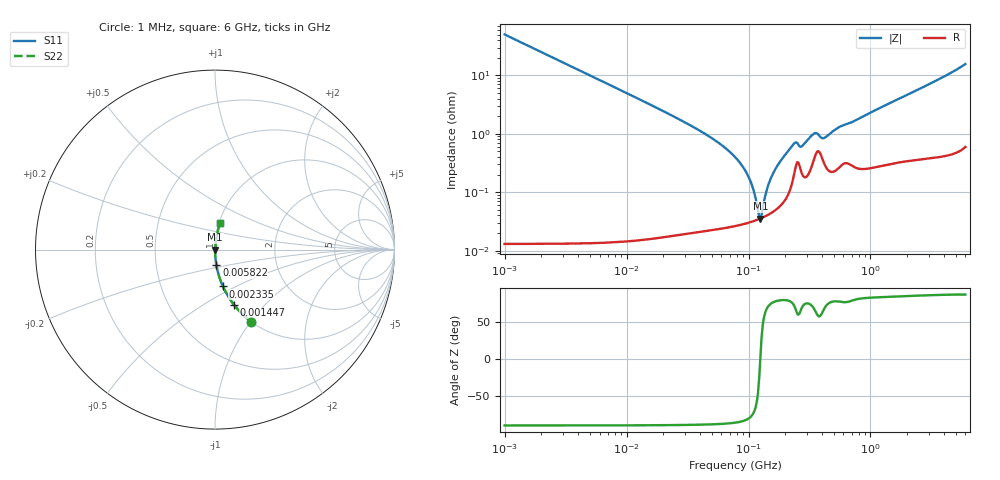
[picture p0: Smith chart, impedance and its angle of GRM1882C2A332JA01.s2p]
!Murata Part Number: GRM1882C2A332JA01
!These Parameters are Measured in Series Mode Connection
!Data Generated on Mar 30, 2021
!  o--ll--o
!Port1  Port2
!  o------o
!Operation Temp=25[degC], DC Bias Voltage=0[V]
!Freq. Start=1000[kHz] Stop=6[GHz] 401[Steps]
# Hz S RI R 50
!Freq.(Hz) S11(Real) S11(Imag) S21(Real) S21(Imag) S12(Real) S12(Imag) S22(Real) S22(Imag)
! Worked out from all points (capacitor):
!   401 points, 1 MHz to 6 GHz, reference 50 ohm
!   read as one part in series: C = 3.17 nF near 1.044 MHz
!   lowest |Z| = 35.4 mohm at 125 MHz (marker M1)
!   series resonance near 124.8 MHz, so ESL is about 510 pH
!   S11 on the Smith chart (normalised r, x): 1 MHz: 1.00, -1.00; 1.447 MHz: 1.00, -0.69; 2.335 MHz: 1.00, -0.43; 5.822 MHz: 1.00, -0.17; 6 GHz: 1.01, +0.31
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1000000  0.201 -0.4007  0.799 0.4007  0.799 0.4007  0.201 -0.4007
1447343  0.1073 -0.3093  0.8927 0.3093  0.8927 0.3093  0.1073 -0.3093
2335446  0.0442 -0.2052  0.9558 0.2052  0.9558 0.2052  0.0442 -0.2052
4293785  0.0136 -0.1151  0.9864 0.1151  0.9864 0.1151  0.0136 -0.1151
5822046  0.00746 -0.0853  0.9925 0.0853  0.9925 0.0853  0.00746 -0.0853
1.843659e7  0.000871 -0.0266  0.9991 0.0266  0.9991 0.0266  0.000871 -0.0266
4.697123e7  0.000303 -0.00915  0.9997 0.00915  0.9997 0.00915  0.000303 -0.00915
7.745967e7  0.000278 -0.00399  0.9997 0.00399  0.9997 0.00399  0.000278 -0.00399
1.005588e8  0.000304 -0.00177  0.9997 0.00177  0.9997 0.00177  0.000304 -0.00177
1.096987e8  0.00032 -0.00105  0.9997 0.00105  0.9997 0.00105  0.00032 -0.00105
1.196694e8  0.000341 -0.000343  0.9997 0.000343  0.9997 0.000343  0.000341 -0.000343
1.249896e8  0.000354 1.31e-05  0.9996 -1.31e-05  0.9996 -1.31e-05  0.000354 1.31e-05
1.305463e8  0.000368 0.000371  0.9996 -0.000371  0.9996 -0.000371  0.000368 0.000371
1.487431e8  0.000425 0.00147  0.9996 -0.00147  0.9996 -0.00147  0.000425 0.00147
1.770109e8  0.000559 0.00304  0.9994 -0.00304  0.9994 -0.00304  0.000559 0.00304
2.348496e8  0.00192 0.00642  0.9981 -0.00642  0.9981 -0.00642  0.00192 0.00642
2.734687e8  0.00213 0.00571  0.9979 -0.00571  0.9979 -0.00571  0.00213 0.00571
3.325952e8  0.00299 0.00901  0.997 -0.00901  0.997 -0.00901  0.00299 0.00901
4.224887e8  0.00298 0.00803  0.997 -0.00803  0.997 -0.00803  0.00298 0.00803
5.60538e8  0.00286 0.0128  0.9971 -0.0128  0.9971 -0.0128  0.00286 0.0128
1.428092e9  0.00408 0.0328  0.9959 -0.0328  0.9959 -0.0328  0.00408 0.0328
6e9  0.0293 0.1507  0.9707 -0.1507  0.9707 -0.1507  0.0293 0.1507
